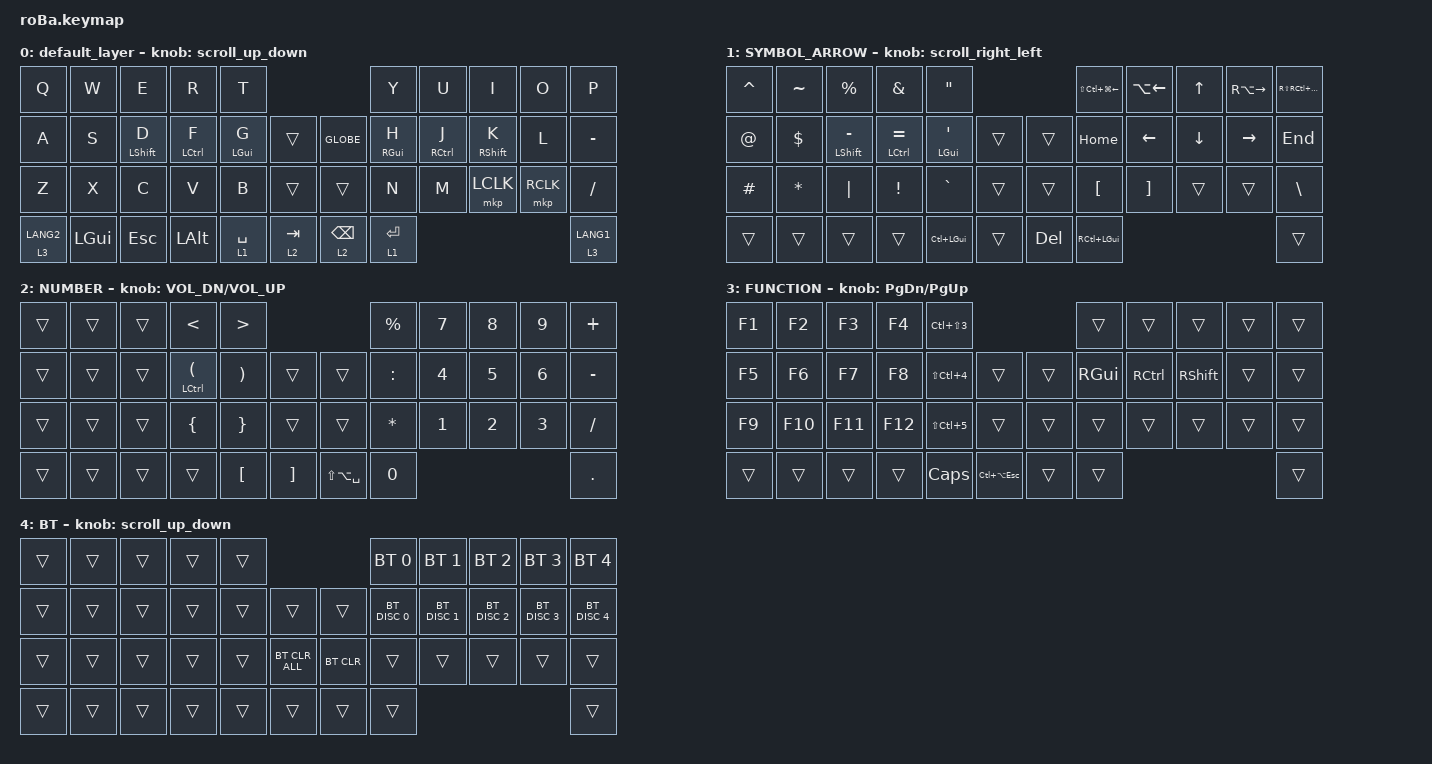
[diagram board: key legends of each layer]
#include <behaviors.dtsi>
#include <dt-bindings/zmk/bt.h>
#include <dt-bindings/zmk/keys.h>
#include <dt-bindings/zmk/pointing.h>

#define ZMK_POINTING_DEFAULT_SCRL_VAL 100

&mt {
    quick-tap-ms = <0>;
    require-prior-idle-ms = <125>;
    flavor = "tap-preferred";
};

&lt {
    quick-tap-ms = <200>;
    require-prior-idle-ms = <125>;
    flavor = "balanced";
};

/ {
    behaviors {
        hmr_l: hmr_l {
            compatible = "zmk,behavior-hold-tap";
            label = "HMR_L";
            bindings = <&kp>, <&kp>;

            #binding-cells = <2>;
            tapping-term-ms = <400>;
            flavor = "balanced";
            hold-trigger-key-positions = <5 6 7 8 9 16 17 18 19 20 21 28 29 30 31 32 33 40 41 42 34 35 36 37 38 39 27 15>;
            hold-trigger-on-release;
            require-prior-idle-ms = <150>;
        };

        hmr_r: hmr_r {
            compatible = "zmk,behavior-hold-tap";
            label = "HMR_R";
            bindings = <&kp>, <&kp>;

            #binding-cells = <2>;
            tapping-term-ms = <400>;
            flavor = "balanced";
            hold-trigger-key-positions = <0 1 2 3 4 10 11 12 13 14 22 23 24 25 26 27 34 35 36 37 38 39 40 15 16 28 41 42>;
            hold-trigger-on-release;
            require-prior-idle-ms = <150>;
        };

        scroll_up_down: mouse_wheel_up_down {
            compatible = "zmk,behavior-sensor-rotate";
            #sensor-binding-cells = <0>;
            bindings = <&msc SCRL_DOWN>, <&msc SCRL_UP>;

            tap-ms = <20>;
        };

        scroll_right_left: mouse_wheel_right_left {
            compatible = "zmk,behavior-sensor-rotate";
            #sensor-binding-cells = <0>;
            bindings = <&msc SCRL_LEFT>, <&msc SCRL_RIGHT>;

            tap-ms = <20>;
        };

        volume_up_down: volume_up_down {
            compatible = "zmk,behavior-sensor-rotate";
            #sensor-binding-cells = <0>;
            bindings = <&kp C_VOL_DN>, <&kp C_VOL_UP>;

            tap-ms = <20>;
        };
    };

    combos {
        compatible = "zmk,combos";

        combo_colon {
            bindings = <&kp COLON>;
            key-positions = <14 26>;
        };

        combo_semicolon {
            bindings = <&kp SEMICOLON>;
            key-positions = <17 29>;
        };

        combo_comma {
            bindings = <&kp COMMA>;
            key-positions = <4 14>;
        };

        combo_period {
            bindings = <&kp PERIOD>;
            key-positions = <5 17>;
        };

        combo_shift_L {
            bindings = <&kp LEFT_SHIFT>;
            key-positions = <38 39>;
        };

        combo_shift_R {
            bindings = <&kp RIGHT_SHIFT>;
            key-positions = <40 41>;
        };

        combo_middle_click {
            bindings = <&mkp MCLK>;
            key-positions = <31 32>;
        };

        combo_mo_bt {
            bindings = <&mo 4>;
            key-positions = <34 42>;
        };
    };

    keymap {
        compatible = "zmk,keymap";

        default_layer {
            bindings = <
&kp Q        &kp W         &kp E                &kp R                  &kp T                                              &kp Y               &kp U                   &kp I                 &kp O      &kp P
&kp A        &kp S         &hmr_l LEFT_SHIFT D  &hmr_l LEFT_CONTROL F  &hmr_l LEFT_GUI G  &trans         &kp GLOBE        &hmr_r RIGHT_GUI H  &hmr_r RIGHT_CONTROL J  &hmr_r RIGHT_SHIFT K  &kp L      &kp MINUS
&kp Z        &kp X         &kp C                &kp V                  &kp B              &trans         &trans           &kp N               &kp M                   &mkp LCLK             &mkp RCLK  &kp SLASH
&lt 3 LANG2  &kp LEFT_GUI  &kp ESCAPE           &kp LEFT_ALT           &lt 1 SPACE        &lt 2 TAB      &lt 2 BACKSPACE  &lt 1 ENTER                                                                  &lt 3 LANG1
            >;

            sensor-bindings = <&scroll_up_down>;
        };

        SYMBOL_ARROW {
            label = "SYMBOL_ARROW";
            bindings = <
&kp CARET    &kp TILDE     &kp PERCENT              &kp AMPERSAND              &kp DOUBLE_QUOTES                                     &kp LS(LC(LG(LEFT)))  &kp LA(LEFT)       &kp UP    &kp RA(RIGHT)  &kp RS(RC(RG(RIGHT)))
&kp AT_SIGN  &kp DOLLAR    &hmr_l LEFT_SHIFT MINUS  &hmr_l LEFT_CONTROL EQUAL  &hmr_l LEFT_GUI SINGLE_QUOTE  &trans      &trans      &kp HOME              &kp LEFT           &kp DOWN  &kp RIGHT      &kp END
&kp HASH     &kp ASTERISK  &kp PIPE                 &kp EXCLAMATION            &kp GRAVE                     &trans      &trans      &kp LEFT_BRACKET      &kp RIGHT_BRACKET  &trans    &trans         &kp BACKSLASH
&trans       &trans        &trans                   &trans                     &kp LC(LEFT_GUI)              &trans      &kp DELETE  &kp RC(LEFT_GUI)                                                  &trans
            >;

            sensor-bindings = <&scroll_right_left>;
        };

        NUMBER {
            label = "NUMBER";
            bindings = <
&trans  &trans  &trans  &kp LESS_THAN                         &kp GREATER_THAN                                                 &kp PERCENT   &kp NUMBER_7  &kp NUMBER_8  &kp NUMBER_9  &kp PLUS
&trans  &trans  &trans  &hmr_l LEFT_CONTROL LEFT_PARENTHESIS  &kp RIGHT_PARENTHESIS  &trans                 &trans             &kp COLON     &kp NUMBER_4  &kp NUMBER_5  &kp NUMBER_6  &kp MINUS
&trans  &trans  &trans  &kp LEFT_BRACE                        &kp RIGHT_BRACE        &trans                 &trans             &kp ASTERISK  &kp NUMBER_1  &kp NUMBER_2  &kp NUMBER_3  &kp SLASH
&trans  &trans  &trans  &trans                                &kp LEFT_BRACKET       &kp RIGHT_BRACKET      &kp LS(LA(SPACE))  &kp NUMBER_0                                            &kp PERIOD
            >;

            sensor-bindings = <&inc_dec_kp C_VOL_DN C_VOL_UP>;
        };

        FUNCTION {
            label = "FUNCTION";
            bindings = <
&kp F1  &kp F2   &kp F3   &kp F4   &kp LC(LS(NUMBER_3))                                  &trans         &trans             &trans           &trans  &trans
&kp F5  &kp F6   &kp F7   &kp F8   &kp LS(LC(NUMBER_4))  &trans                  &trans  &kp RIGHT_GUI  &kp RIGHT_CONTROL  &kp RIGHT_SHIFT  &trans  &trans
&kp F9  &kp F10  &kp F11  &kp F12  &kp LS(LC(N5))        &trans                  &trans  &trans         &trans             &trans           &trans  &trans
&trans  &trans   &trans   &trans   &kp CAPSLOCK          &kp LC(LA(ESCAPE))      &trans  &trans                                                     &trans
            >;

            sensor-bindings = <&inc_dec_kp PAGE_DOWN PAGE_UP>;
        };

        BT {
            label = "BT";
            bindings = <
&trans  &trans  &trans  &trans  &trans                                  &bt BT_SEL 0   &bt BT_SEL 1   &bt BT_SEL 2   &bt BT_SEL 3   &bt BT_SEL 4
&trans  &trans  &trans  &trans  &trans  &trans              &trans      &bt BT_DISC 0  &bt BT_DISC 1  &bt BT_DISC 2  &bt BT_DISC 3  &bt BT_DISC 4
&trans  &trans  &trans  &trans  &trans  &bt BT_CLR_ALL      &bt BT_CLR  &trans         &trans         &trans         &trans         &trans
&trans  &trans  &trans  &trans  &trans  &trans              &trans      &trans                                                      &trans
            >;

            sensor-bindings = <&scroll_up_down>;
        };
    };
};
